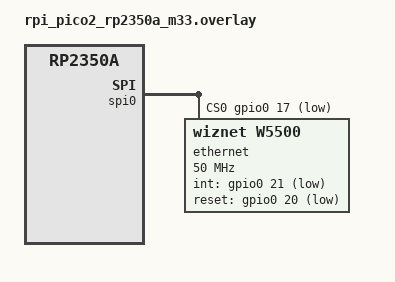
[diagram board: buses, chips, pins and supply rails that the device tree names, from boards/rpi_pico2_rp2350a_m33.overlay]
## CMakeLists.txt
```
# SPDX-License-Identifier: Apache-2.0
cmake_minimum_required(VERSION 3.20.0)

find_package(Zephyr REQUIRED HINTS $ENV{ZEPHYR_BASE})
project(sensor_node)

target_sources(app PRIVATE src/main.c src/sensor_sim.c)

# Vendored third-party library (see lib/cjson/README.md): no package metadata,
# so west spdx counts these files as application sources.
target_sources(app PRIVATE lib/cjson/cJSON.c)
target_include_directories(app PRIVATE lib/cjson)

# The demo CA certificate (public part only) is generated by `make certs` and
# embedded as DER. The firmware trusts exactly this CA for the MQTT broker.
if(NOT DEFINED DEMO_CA_DER)
  set(DEMO_CA_DER ${CMAKE_CURRENT_SOURCE_DIR}/../certs/generated/demo-ca.der)
endif()
if(NOT EXISTS ${DEMO_CA_DER})
  message(FATAL_ERROR "Missing ${DEMO_CA_DER}: run `make certs` first")
endif()
set(gen_dir ${ZEPHYR_BINARY_DIR}/include/generated)
generate_inc_file_for_target(app ${DEMO_CA_DER} ${gen_dir}/demo_ca.der.inc)

# Reproducibility: strip absolute build and workspace paths from debug info and
# __FILE__ so the image does not depend on where the workspace lives.
get_filename_component(WEST_TOPDIR ${ZEPHYR_BASE}/.. ABSOLUTE)
# Order matters: GCC applies the LAST matching map. The build directory usually lives
# inside the west workspace (/ws/build/...), so the more specific build-dir map must
# come after the workspace map, otherwise the build path leaks as "ws/build/...".
# The application directory gets its own map, so a release built from a copy of app/
# (releases/<version>, see scripts/build-firmware.sh) does not depend on where the
# copy lives either.
zephyr_compile_options(
  -ffile-prefix-map=${WEST_TOPDIR}=ws
  -ffile-prefix-map=${APPLICATION_SOURCE_DIR}=app
  -ffile-prefix-map=${CMAKE_BINARY_DIR}=build
)
# Toolchain headers: map the SDK location too, so the ELF does not depend on where
# the Zephyr SDK is installed (the uf2/bin/hex never did).
if(DEFINED ENV{ZEPHYR_SDK_INSTALL_DIR})
  zephyr_compile_options(-ffile-prefix-map=$ENV{ZEPHYR_SDK_INSTALL_DIR}=sdk)
endif()
# native_sim: the native simulator runner is compiled separately from Zephyr;
# give it the same prefix maps so zephyr.exe is path-independent as well.
if(TARGET native_simulator)
  target_compile_options(native_simulator INTERFACE
    -ffile-prefix-map=${WEST_TOPDIR}=ws
    -ffile-prefix-map=${APPLICATION_SOURCE_DIR}=app
    -ffile-prefix-map=${CMAKE_BINARY_DIR}=build
  )
endif()
```

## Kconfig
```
# SPDX-License-Identifier: Apache-2.0

menu "Sensor node application"

config APP_DEVICE_ID
	string "Device identifier used as MQTT client ID and in the topic"
	default "sensor-node-01"

config APP_MQTT_BROKER_HOST
	string "MQTT broker host name (must match the broker certificate)"
	default "mosquitto"
	help
	  Resolved with getaddrinfo(). The same name is used for TLS server
	  name verification, so it must be a subjectAltName of the broker
	  certificate generated by `make certs`.

config APP_MQTT_BROKER_ADDR
	string "Fixed broker IPv4 address (empty = resolve APP_MQTT_BROKER_HOST)"
	default ""
	help
	  For setups without DNS, e.g. the real board cabled directly to the
	  laptop. The TLS server name check still uses APP_MQTT_BROKER_HOST.

config APP_MQTT_BROKER_PORT
	int "MQTT broker TLS port"
	default 8883

config APP_PUBLISH_INTERVAL_MS
	int "Interval between sensor readings in milliseconds"
	default 1000

config APP_PUBLISH_COUNT
	int "Number of readings to publish before disconnecting (0 = forever)"
	default 0

endmenu

source "Kconfig.zephyr"
```

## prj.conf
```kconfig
# SPDX-License-Identifier: Apache-2.0
#
# Sensor node: MQTT over TLS 1.2 (ECDHE-ECDSA, AES-128-GCM, P-256).
# Board-specific networking lives in boards/*.conf.
#
# Section "Deliberately disabled" lists features this product does NOT use.
# They are switched off explicitly (not just left at default) so the build
# configuration documents the decision. Phase 8 scenario 3 relies on this:
# a CVE in a disabled feature can be shown to be not applicable.

# --- Kernel / logging ---------------------------------------------------------
CONFIG_MAIN_STACK_SIZE=4096
CONFIG_HEAP_MEM_POOL_SIZE=16384
CONFIG_LOG=y
CONFIG_PRINTK=y

# --- Build metadata (required by `west spdx`) ------------------------------------
# zephyr.meta records Zephyr/module paths, git revisions and tags plus the workspace
# state (dirty/off/extra). We do NOT enable BUILD_OUTPUT_META_STATE_PROPAGATE: it
# appends "-off" to the Zephyr revision whenever the manifest repo has no remote
# (true for a local clone of this repo), which also corrupts the PURL in the SBOM.
# The workspace state is checked separately by `make doctor`.
CONFIG_BUILD_OUTPUT_META=y

# --- Networking -------------------------------------------------------------------
CONFIG_NETWORKING=y
CONFIG_NET_IPV4=y
CONFIG_NET_IPV6=n
CONFIG_NET_TCP=y
CONFIG_NET_SOCKETS=y
CONFIG_NET_NAMESPACE_COMPAT_MODE=n

# --- MQTT over TLS -------------------------------------------------------------
CONFIG_MQTT_LIB=y
CONFIG_MQTT_LIB_TLS=y
CONFIG_NET_SOCKETS_SOCKOPT_TLS=y

# --- Mbed TLS: only what TLS 1.2 + ECDHE-ECDSA-AES128-GCM-SHA256 needs --------
CONFIG_MBEDTLS=y
CONFIG_MBEDTLS_ENABLE_HEAP=y
CONFIG_MBEDTLS_HEAP_SIZE=60000
CONFIG_MBEDTLS_SSL_MAX_CONTENT_LEN=2048
CONFIG_MBEDTLS_PSA_CRYPTO_C=y
CONFIG_MBEDTLS_SSL_PROTO_TLS1_2=y
CONFIG_MBEDTLS_CIPHERSUITE_TLS_ECDHE_ECDSA_WITH_AES_128_GCM_SHA256=y
CONFIG_MBEDTLS_X509_CRT_PARSE_C=y
CONFIG_MBEDTLS_SSL_SERVER_NAME_INDICATION=y
CONFIG_ENTROPY_GENERATOR=y

# --- Deliberately disabled ---------------------------------------------------------
# Radio / connectivity this product does not have or use
CONFIG_BT=n
CONFIG_WIFI=n
# TLS protocol variants and features not used
CONFIG_MBEDTLS_SSL_PROTO_TLS1_3=n
CONFIG_MBEDTLS_SSL_PROTO_DTLS=n
CONFIG_MBEDTLS_SSL_SESSION_TICKETS=n
CONFIG_MBEDTLS_SSL_ALPN=n
CONFIG_MBEDTLS_SSL_CACHE_C=n
# Certificate handling not used (device only verifies one server chain)
CONFIG_MBEDTLS_PEM_PARSE_C=n
CONFIG_MBEDTLS_X509_CRL_PARSE_C=n
CONFIG_MBEDTLS_X509_CSR_PARSE_C=n
CONFIG_MBEDTLS_X509_CSR_WRITE_C=n
CONFIG_MBEDTLS_X509_CRT_WRITE_C=n
# Key exchanges not used
CONFIG_MBEDTLS_KEY_EXCHANGE_PSK_ENABLED=n
CONFIG_MBEDTLS_KEY_EXCHANGE_ECDHE_PSK_ENABLED=n
CONFIG_MBEDTLS_KEY_EXCHANGE_ECJPAKE_ENABLED=n
CONFIG_MBEDTLS_KEY_EXCHANGE_ECDHE_RSA_ENABLED=n
# Shells and debug interfaces
CONFIG_SHELL=n
CONFIG_NET_SHELL=n
CONFIG_MBEDTLS_SHELL=n
CONFIG_MBEDTLS_DEBUG=n
```

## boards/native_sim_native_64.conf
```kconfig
# SPDX-License-Identifier: Apache-2.0
# native_sim: use the host's sockets (Native Simulator Offloaded Sockets, NSOS).
# No TAP interface or extra container privileges needed. Name resolution of the
# broker is offloaded to the host resolver as well.
CONFIG_ETH_NATIVE_TAP=n
CONFIG_NET_DRIVERS=y
CONFIG_NET_SOCKETS_OFFLOAD=y
CONFIG_NET_NATIVE_OFFLOADED_SOCKETS=y
```

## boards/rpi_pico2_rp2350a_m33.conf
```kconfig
# SPDX-License-Identifier: Apache-2.0
# Real board: WIZnet W5500 Ethernet (SPI) with Zephyr's native IP stack.
# Static addressing for a direct cable to the presenter laptop:
#   board 192.168.77.2/24  <->  laptop 192.168.77.1 (MQTT broker, port 8883)
# No DHCP and no DNS needed. TLS still verifies the broker name "mosquitto".
CONFIG_NET_CONFIG_SETTINGS=y
CONFIG_NET_CONFIG_NEED_IPV4=y
CONFIG_NET_CONFIG_MY_IPV4_ADDR="192.168.77.2"
CONFIG_NET_CONFIG_MY_IPV4_NETMASK="255.255.255.0"
CONFIG_NET_CONFIG_PEER_IPV4_ADDR="192.168.77.1"
CONFIG_APP_MQTT_BROKER_ADDR="192.168.77.1"
# W5500 module on SPI0 (the W5500-EVB-Pico2 board enables these itself)
CONFIG_SPI=y
CONFIG_NET_L2_ETHERNET=y
```

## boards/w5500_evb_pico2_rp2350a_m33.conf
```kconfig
# SPDX-License-Identifier: Apache-2.0
# Real board: WIZnet W5500 Ethernet (SPI) with Zephyr's native IP stack.
# Static addressing for a direct cable to the presenter laptop:
#   board 192.168.77.2/24  <->  laptop 192.168.77.1 (MQTT broker, port 8883)
# No DHCP and no DNS needed. TLS still verifies the broker name "mosquitto".
CONFIG_NET_CONFIG_SETTINGS=y
CONFIG_NET_CONFIG_NEED_IPV4=y
CONFIG_NET_CONFIG_MY_IPV4_ADDR="192.168.77.2"
CONFIG_NET_CONFIG_MY_IPV4_NETMASK="255.255.255.0"
CONFIG_NET_CONFIG_PEER_IPV4_ADDR="192.168.77.1"
CONFIG_APP_MQTT_BROKER_ADDR="192.168.77.1"
```

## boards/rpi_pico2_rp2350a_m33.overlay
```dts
/* SPDX-License-Identifier: Apache-2.0 */
/* Raspberry Pi Pico 2 (or pin-compatible clone) + WIZnet W5500 Ethernet module.
 * Wiring copies the WIZnet W5500-EVB-Pico2 board exactly, so both builds behave
 * the same:
 *   GP16 MISO, GP17 CS, GP18 SCK, GP19 MOSI, GP20 RESET, GP21 INT, 3V3, GND
 */
&spi0 {
	status = "okay";
	cs-gpios = <&gpio0 17 GPIO_ACTIVE_LOW>;

	ethernet: w5500@0 {
		compatible = "wiznet,w5500";
		reg = <0x0>;
		spi-max-frequency = <50000000>;
		int-gpios = <&gpio0 21 GPIO_ACTIVE_LOW>;
		reset-gpios = <&gpio0 20 GPIO_ACTIVE_LOW>;
		local-mac-address = [02 00 00 77 00 02];
		status = "okay";
	};
};
```

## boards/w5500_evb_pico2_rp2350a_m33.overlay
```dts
/* SPDX-License-Identifier: Apache-2.0 */
/* Enable the RP2350 hardware TRNG (the SoC already selects it as zephyr,entropy;
 * this board's devicetree leaves it disabled). TLS needs a real entropy source.
 */
&rng {
	status = "okay";
};
```

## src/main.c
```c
/*
 * SPDX-License-Identifier: Apache-2.0
 *
 * Connected sensor node for the CRA evidence demo.
 *
 * Reads a simulated temperature sensor and publishes the value over MQTT
 * with TLS (Zephyr MQTT library + TLS sockets backed by Mbed TLS). The payload
 * is built with the vendored cJSON library (lib/cjson). The broker
 * certificate is verified against a demo CA that is embedded at build time.
 */

#include <errno.h>
#include <stdio.h>
#include <string.h>

#include <zephyr/kernel.h>
#include <zephyr/logging/log.h>
#include <zephyr/net/mqtt.h>
#include <zephyr/net/socket.h>
#include <zephyr/net/socket_poll.h>
#include <zephyr/net/tls_credentials.h>

#include <app_version.h>

#include "cJSON.h"
#include "sensor_sim.h"

LOG_MODULE_REGISTER(sensor_node, LOG_LEVEL_INF);

#define CA_CERT_TAG 1
#define CONNECT_TIMEOUT_MS 5000
#define CONNECT_TRIES 5
#define TOPIC "cra-demo/" CONFIG_APP_DEVICE_ID "/temperature"

static const unsigned char demo_ca_der[] = {
#include "demo_ca.der.inc"
};

static const sec_tag_t sec_tags[] = {CA_CERT_TAG};

static uint8_t rx_buffer[256];
static uint8_t tx_buffer[256];
static struct mqtt_client client;
static struct net_sockaddr_storage broker;
static struct zsock_pollfd fds[1];
static bool connected;

static void mqtt_evt_handler(struct mqtt_client *const c, const struct mqtt_evt *evt)
{
	ARG_UNUSED(c);

	switch (evt->type) {
	case MQTT_EVT_CONNACK:
		if (evt->result == 0) {
			connected = true;
			LOG_INF("MQTT connected (TLS) to %s:%d", CONFIG_APP_MQTT_BROKER_HOST,
				CONFIG_APP_MQTT_BROKER_PORT);
		} else {
			LOG_ERR("MQTT connect refused: %d", evt->result);
		}
		break;
	case MQTT_EVT_DISCONNECT:
		connected = false;
		LOG_INF("MQTT disconnected (%d)", evt->result);
		break;
	default:
		break;
	}
}

static int resolve_broker(void)
{
	if (strlen(CONFIG_APP_MQTT_BROKER_ADDR) > 0) {
		struct net_sockaddr_in *b4 = (struct net_sockaddr_in *)&broker;

		b4->sin_family = NET_AF_INET;
		b4->sin_port = net_htons(CONFIG_APP_MQTT_BROKER_PORT);
		if (zsock_inet_pton(NET_AF_INET, CONFIG_APP_MQTT_BROKER_ADDR, &b4->sin_addr) != 1) {
			LOG_ERR("Invalid broker address %s", CONFIG_APP_MQTT_BROKER_ADDR);
			return -EINVAL;
		}
		return 0;
	}

	struct zsock_addrinfo hints = {
		.ai_family = NET_AF_INET,
		.ai_socktype = NET_SOCK_STREAM,
	};
	struct zsock_addrinfo *res = NULL;
	char port[8];
	int ret;

	snprintf(port, sizeof(port), "%d", CONFIG_APP_MQTT_BROKER_PORT);
	ret = zsock_getaddrinfo(CONFIG_APP_MQTT_BROKER_HOST, port, &hints, &res);
	if (ret != 0 || res == NULL) {
		LOG_ERR("Cannot resolve %s (%d)", CONFIG_APP_MQTT_BROKER_HOST, ret);
		return -EHOSTUNREACH;
	}
	memcpy(&broker, res->ai_addr, MIN(res->ai_addrlen, sizeof(broker)));
	zsock_freeaddrinfo(res);
	return 0;
}

static void client_setup(void)
{
	struct mqtt_sec_config *tls;

	mqtt_client_init(&client);
	client.broker = &broker;
	client.evt_cb = mqtt_evt_handler;
	client.client_id.utf8 = (const uint8_t *)CONFIG_APP_DEVICE_ID;
	client.client_id.size = strlen(CONFIG_APP_DEVICE_ID);
	client.protocol_version = MQTT_VERSION_3_1_1;
	client.rx_buf = rx_buffer;
	client.rx_buf_size = sizeof(rx_buffer);
	client.tx_buf = tx_buffer;
	client.tx_buf_size = sizeof(tx_buffer);

	client.transport.type = MQTT_TRANSPORT_SECURE;
	tls = &client.transport.tls.config;
	tls->peer_verify = ZSOCK_TLS_PEER_VERIFY_REQUIRED;
	tls->cipher_list = NULL;
	tls->sec_tag_list = sec_tags;
	tls->sec_tag_count = ARRAY_SIZE(sec_tags);
	tls->hostname = CONFIG_APP_MQTT_BROKER_HOST;
}

static int wait_input(int timeout_ms)
{
	int ret;

	fds[0].fd = client.transport.tls.sock;
	fds[0].events = ZSOCK_POLLIN;
	ret = zsock_poll(fds, 1, timeout_ms);
	if (ret > 0) {
		return mqtt_input(&client);
	}
	return ret;
}

static int connect_broker(void)
{
	for (int attempt = 1; attempt <= CONNECT_TRIES; attempt++) {
		int ret;

		client_setup();
		ret = mqtt_connect(&client);
		if (ret != 0) {
			LOG_WRN("Connect attempt %d failed (%d)", attempt, ret);
			k_sleep(K_SECONDS(1));
			continue;
		}
		(void)wait_input(CONNECT_TIMEOUT_MS);
		if (connected) {
			return 0;
		}
		mqtt_abort(&client);
	}
	return -ECONNREFUSED;
}

static int publish_reading(uint32_t seq)
{
	struct mqtt_publish_param param = {0};
	char payload[128];
	cJSON *msg = cJSON_CreateObject();
	bool ok;

	/* Integers only: the board's C library is built without float printf. */
	ok = msg != NULL &&
	     cJSON_AddStringToObject(msg, "device", CONFIG_APP_DEVICE_ID) != NULL &&
	     cJSON_AddStringToObject(msg, "fw", APP_VERSION_STRING) != NULL &&
	     cJSON_AddNumberToObject(msg, "seq", (double)seq) != NULL &&
	     cJSON_AddNumberToObject(msg, "temp_mc", (double)sensor_sim_read_mdegc(seq)) != NULL &&
	     cJSON_PrintPreallocated(msg, payload, sizeof(payload), false);
	cJSON_Delete(msg);
	if (!ok) {
		LOG_ERR("Cannot build payload");
		return -ENOMEM;
	}

	param.message.topic.topic.utf8 = (const uint8_t *)TOPIC;
	param.message.topic.topic.size = strlen(TOPIC);
	param.message.topic.qos = MQTT_QOS_0_AT_MOST_ONCE;
	param.message.payload.data = payload;
	param.message.payload.len = strlen(payload);
	param.message_id = (uint16_t)(seq + 1);

	LOG_INF("publish %s %s", TOPIC, payload);
	return mqtt_publish(&client, &param);
}

int main(void)
{
	int ret;

	LOG_INF("sensor node %s (%s) on %s", APP_VERSION_STRING, CONFIG_APP_DEVICE_ID,
		CONFIG_BOARD_TARGET);

	ret = tls_credential_add(CA_CERT_TAG, TLS_CREDENTIAL_CA_CERTIFICATE, demo_ca_der,
				 sizeof(demo_ca_der));
	if (ret < 0) {
		LOG_ERR("Cannot register CA certificate (%d)", ret);
		return 0;
	}

	ret = resolve_broker();
	if (ret == 0) {
		ret = connect_broker();
	}
	if (ret != 0) {
		LOG_ERR("No broker connection (%d)", ret);
		return 0;
	}

	for (uint32_t seq = 0;
	     CONFIG_APP_PUBLISH_COUNT == 0 || seq < CONFIG_APP_PUBLISH_COUNT; seq++) {
		ret = publish_reading(seq);
		if (ret != 0) {
			LOG_ERR("Publish failed (%d)", ret);
			break;
		}
		(void)wait_input(CONFIG_APP_PUBLISH_INTERVAL_MS);
		(void)mqtt_live(&client);
		if (!connected) {
			break;
		}
	}

	(void)mqtt_disconnect(&client, NULL);
	LOG_INF("done");
	return 0;
}
```

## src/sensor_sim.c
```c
/*
 * SPDX-License-Identifier: Apache-2.0
 */

#include "sensor_sim.h"

#define BASE_MDEGC      21000 /* 21.000 C */
#define AMPLITUDE_MDEGC 1500  /* +/- 1.500 C */
#define PERIOD          20    /* readings per full cycle */

int32_t sensor_sim_read_mdegc(uint32_t n)
{
	/* Triangle wave: integer only, no floating point or libm needed. */
	uint32_t phase = n % PERIOD;
	int32_t half = PERIOD / 2;
	int32_t pos = (phase < (uint32_t)half) ? (int32_t)phase : (int32_t)(PERIOD - phase);

	return BASE_MDEGC - AMPLITUDE_MDEGC + (2 * AMPLITUDE_MDEGC * pos) / half;
}
```

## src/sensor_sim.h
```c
/*
 * SPDX-License-Identifier: Apache-2.0
 *
 * Simulated temperature sensor. There is no real sensor in this demo; the
 * values follow a fixed, deterministic pattern so runs are comparable.
 */

#ifndef SENSOR_SIM_H_
#define SENSOR_SIM_H_

#include <stdint.h>

/* Returns the n-th simulated reading in milli-degrees Celsius. */
int32_t sensor_sim_read_mdegc(uint32_t n);

#endif /* SENSOR_SIM_H_ */
```
